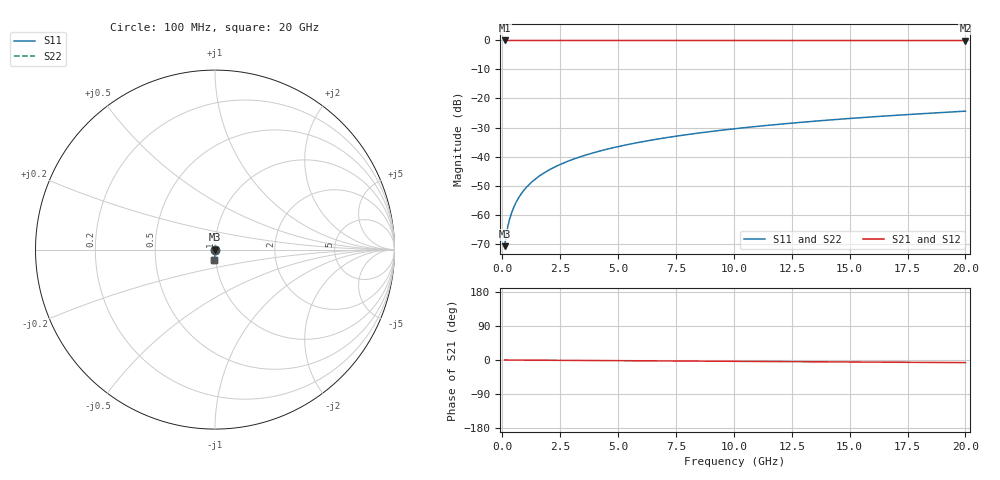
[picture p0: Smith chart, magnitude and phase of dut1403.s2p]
! Touchstone file exported from HFSS 2026.1.0
!  File:  C:/ffzhzh/LocalFiles/Ansys_Project_Files/temp_train_TSV_1403_1783196909_55132.aedt
!  Generated:  04:29:50 AM Jul  5, 2026
!  Design:  TSV
!  Project:  temp_train_TSV_1403_1783196909_55132
! Variables:
!  h_bsmrdl = 2um
!  h_ox = 20um
!  h_rdl = 5um
!  h_sub = 63.55um
!  h_tmrdl = 5um
!  h_tsv = 63.55um
!  h_via = 3um
!  l_bsmrdl = 300um
!  l_sub = 418.28um
!  l_tmrdl = 200um
!  m_sub = 200um
!  pitch = 24.01um
!  r_tsv = 9.14um
!  s_tmrdl = 10um
!  w_bsmrdl = 18um
!  w_sub = 500um
!  w_tmrdl = 12um
!  x_tsv_center1 = 206um
!  x_tsv_center2 = 524um
!  x_tsv_center3 = 736um
!  x_tsv_center4 = 1054um
!  x_tsv_center5 = 1266um
!  x_tsv_center6 = 1584um
# GHz S MA R 50.000000
! Terminal data exported
! Port[1] = TSV1_1_T1
! Port[2] = TSV1_1_T2
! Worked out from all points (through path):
!   200 points, 100 MHz to 20 GHz, reference 50 ohm
!   highest |S21| = 0.00 dB at 100 MHz (marker M1); lowest = 0.0 dB at 20 GHz (marker M2)
!   lowest |S11| = -70.9 dB at 100 MHz (marker M3), VSWR 1.00, Z = 50 - j0.0251 ohm
!   |S11| at or under -10 dB: start of sweep to end of sweep
!   |S22| runs from -70.9 to -24.4 dB; largest |S21 - S12| = 2.1e-15
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0.1  0.0002853 -61.5  0.9999 -0.0  0.9999 -0.0  0.0002853 -61.5
! Gamma 0 0 0 0
! Port Impedance 50 0 50 0
0.2  0.0005294 -73.1  0.9998 -0.1  0.9998 -0.1  0.0005294 -73.1
0.3  0.0007916 -77.0  0.9998 -0.1  0.9998 -0.1  0.0007916 -77.0
0.4  0.001065 -78.8  0.9998 -0.1  0.9998 -0.1  0.001065 -78.8
0.5  0.001348 -80.0  0.9998 -0.2  0.9998 -0.2  0.001348 -80.0
0.7  0.001929 -81.6  0.9997 -0.3  0.9997 -0.3  0.001929 -81.6
0.8  0.002224 -82.3  0.9997 -0.3  0.9997 -0.3  0.002224 -82.3
1  0.002819 -83.3  0.9996 -0.4  0.9996 -0.4  0.002819 -83.3
1.2  0.003416 -84.1  0.9996 -0.4  0.9996 -0.4  0.003416 -84.1
1.4  0.004013 -84.8  0.9996 -0.5  0.9996 -0.5  0.004013 -84.8
1.7  0.004909 -85.6  0.9996 -0.6  0.9996 -0.6  0.004909 -85.6
2  0.005804 -86.2  0.9995 -0.7  0.9995 -0.7  0.005804 -86.2
2.7  0.007895 -87.2  0.9995 -1.0  0.9995 -1.0  0.007895 -87.2
3.5  0.01029 -88.0  0.9994 -1.2  0.9994 -1.2  0.01029 -88.0
4.2  0.0124 -88.5  0.9993 -1.5  0.9993 -1.5  0.0124 -88.5
5  0.01481 -89.0  0.9992 -1.8  0.9992 -1.8  0.01481 -89.0
6.8  0.02027 -90.0  0.999 -2.4  0.999 -2.4  0.02027 -90.0
8.3  0.02483 -90.8  0.9988 -2.9  0.9988 -2.9  0.02483 -90.8
10.1  0.03032 -91.6  0.9985 -3.5  0.9985 -3.5  0.03032 -91.6
13.4  0.04037 -93.0  0.998 -4.6  0.998 -4.6  0.04037 -93.0
16.7  0.05041 -94.3  0.9974 -5.8  0.9974 -5.8  0.05041 -94.3
20  0.06044 -95.5  0.9967 -6.9  0.9967 -6.9  0.06044 -95.5
